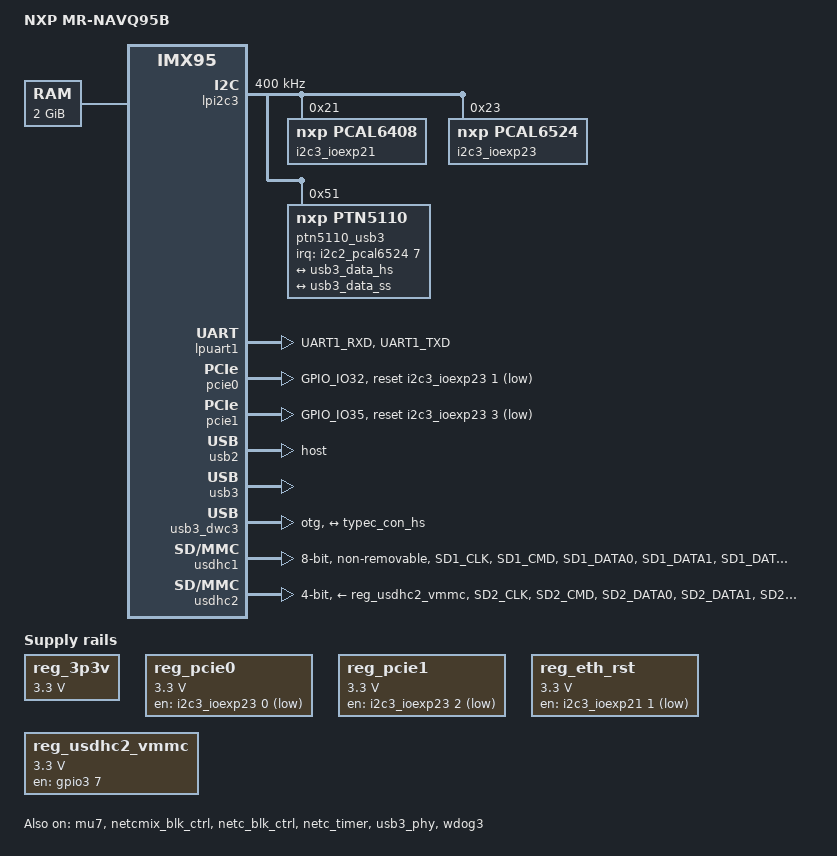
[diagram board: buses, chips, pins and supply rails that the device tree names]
// SPDX-License-Identifier: (GPL-2.0+ OR MIT)
/*
 * Copyright 2024 NXP
 */

/dts-v1/;

#include <dt-bindings/pwm/pwm.h>
#include <dt-bindings/usb/pd.h>
#include "imx95.dtsi"

#define FALLING_EDGE			1
#define RISING_EDGE			2

#define BRD_SM_CTRL_SD3_WAKE		0x8000	/* PCAL6408A-0 */
#define BRD_SM_CTRL_PCIE1_WAKE		0x8001	/* PCAL6408A-4 */
#define BRD_SM_CTRL_BT_WAKE		0x8002	/* PCAL6408A-5 */
#define BRD_SM_CTRL_PCIE2_WAKE		0x8003	/* PCAL6408A-6 */
#define BRD_SM_CTRL_BUTTON		0x8004	/* PCAL6408A-7 */

/ {
	model = "NXP MR-NAVQ95B";
	compatible = "fsl,imx95-navqb", "fsl,imx95";

	aliases {
		gpio0 = &gpio1;
		gpio1 = &gpio2;
		gpio2 = &gpio3;
		gpio3 = &gpio4;
		gpio4 = &gpio5;
		i2c0 = &lpi2c1;
		i2c1 = &lpi2c2;
		i2c2 = &lpi2c3;
		i2c3 = &lpi2c4;
		i2c4 = &lpi2c5;
		i2c5 = &lpi2c6;
		i2c6 = &lpi2c7;
		i2c7 = &lpi2c8;
		mmc0 = &usdhc1;
		mmc1 = &usdhc2;
		serial0 = &lpuart1;
	};

	chosen {
		stdout-path = &lpuart1;
	};

	memory@80000000 {
		device_type = "memory";
		reg = <0x0 0x80000000 0 0x80000000>;
	};

	reserved-memory {
		#address-cells = <2>;
		#size-cells = <2>;
		ranges;

		linux_cma: linux,cma {
			compatible = "shared-dma-pool";
			alloc-ranges = <0 0x80000000 0 0x7f000000>;
			size = <0 0x3c000000>;
			linux,cma-default;
			reusable;
		};
	};

	reg_3p3v: regulator-3p3v {
		compatible = "regulator-fixed";
		regulator-max-microvolt = <3300000>;
		regulator-min-microvolt = <3300000>;
		regulator-name = "+V3.3_SW";
	};

	reg_pcie0: reg-pcie0 {
		compatible = "regulator-fixed";
		regulator-name = "M2_KEYM_PWREN_B";
		regulator-min-microvolt = <3300000>;
		regulator-max-microvolt = <3300000>;
		gpio = <&i2c3_ioexp23 0 (GPIO_ACTIVE_LOW | GPIO_OPEN_DRAIN)>;
		enable-active-low;
		regulator-always-on;
	};

	reg_pcie1: reg-pcie1 {
		compatible = "regulator-fixed";
		regulator-name = "M2_KEYB_PWREN_B";
		regulator-min-microvolt = <3300000>;
		regulator-max-microvolt = <3300000>;
		gpio = <&i2c3_ioexp23 2 (GPIO_ACTIVE_LOW | GPIO_OPEN_DRAIN)>;
		enable-active-low;
		regulator-always-on;
	};

	reg_eth_rst: reg-eth-rst {
		compatible = "regulator-fixed";
		regulator-name = "RTL8211_PHYRST_B";
		regulator-min-microvolt = <3300000>;
		regulator-max-microvolt = <3300000>;
		gpio = <&i2c3_ioexp21 1 (GPIO_ACTIVE_LOW | GPIO_OPEN_DRAIN)>;
		enable-active-low;
		regulator-always-on;
	};

	reg_usdhc2_vmmc: regulator-usdhc2 {
		compatible = "regulator-fixed";
		pinctrl-names = "default";
		pinctrl-0 = <&pinctrl_reg_usdhc2_vmmc>;
		regulator-name = "VDD_SD2_3V3";
		regulator-min-microvolt = <3300000>;
		regulator-max-microvolt = <3300000>;
		gpio = <&gpio3 7 GPIO_ACTIVE_HIGH>;
		enable-active-high;
		off-on-delay-us = <12000>;
	};
};

&flexspi1 {
	pinctrl-names = "default";
	pinctrl-0 = <&pinctrl_flexspi1>;
	status = "disabled";

	flash@0 {
		compatible = "jedec,spi-nor";
		reg = <0>;
		pinctrl-names = "default";
		pinctrl-0 = <&pinctrl_flexspi1_reset>;
		reset-gpios = <&gpio5 11 GPIO_ACTIVE_LOW>;
		#address-cells = <1>;
		#size-cells = <1>;
		spi-max-frequency = <200000000>;
		spi-tx-bus-width = <8>;
		spi-rx-bus-width = <8>;
	};
};

&gpio2 {
	status = "disabled";
};

&lpi2c3 {
	clock-frequency = <400000>;
	pinctrl-names = "default";
	pinctrl-0 = <&pinctrl_lpi2c3>;
	status = "okay";

	i2c3_ioexp21: i2c3-gpio@21 {
		compatible = "nxp,pcal6408";
	    label = "i2c3_ioexp21";
		reg = <0x21>;
		gpio-controller;
		#gpio-cells = <2>;
		status = "okay";
	};

	i2c3_ioexp23: i2c3-gpio@23 {
		compatible = "nxp,pcal6524";
	    label = "i2c3_ioexp23";
		reg = <0x23>;
		gpio-controller;
		#gpio-cells = <2>;
	};

	ptn5110_usb3: tcpc@51 {
		compatible = "nxp,ptn5110", "tcpci";
		reg = <0x51>;
		interrupt-parent = <&i2c2_pcal6524>;
		interrupts = <7 IRQ_TYPE_LEVEL_LOW>;

		typec_con3: connector {
			compatible = "usb-c-connector";
			label = "USB-C";
			power-role = "dual";
			data-role = "dual";
			try-power-role = "sink";
			source-pdos = <PDO_FIXED(5000, 3000, PDO_FIXED_USB_COMM)>;
			sink-pdos = <PDO_FIXED(5000, 3000, PDO_FIXED_USB_COMM)
				     PDO_VAR(5000, 20000, 3000)>;
			op-sink-microwatt = <0>;
			self-powered;

			ports {
				#address-cells = <1>;
				#size-cells = <0>;

				port@0 {
					reg = <0>;

					typec_con_hs: endpoint {
						remote-endpoint = <&usb3_data_hs>;
					};
				};

				port@1 {
					reg = <1>;

					typec_con_ss: endpoint {
						remote-endpoint = <&usb3_data_ss>;
					};
				};
			};
		};
	};
};

&lpi2c4 {
	clock-frequency = <400000>;
	pinctrl-names = "default";
	pinctrl-0 = <&pinctrl_lpi2c4>;
	status = "disabled";
};

&lpuart1 {
	/* console */
	pinctrl-names = "default";
	pinctrl-0 = <&pinctrl_uart1>;
	status = "okay";
};


&mu7 {
	status = "okay";
};

&netcmix_blk_ctrl {
	status = "okay";
};

&netc_blk_ctrl {
	status = "okay";
};

&netc_timer {
	status = "okay";
};

&pcie0 {
	pinctrl-0 = <&pinctrl_pcie0>;
	pinctrl-names = "default";
	reset-gpio = <&i2c3_ioexp23 1 GPIO_ACTIVE_LOW>;
	vpcie-supply = <&reg_pcie0>;
	status = "okay";
};

&pcie0_ep {
	pinctrl-0 = <&pinctrl_pcie0>;
	pinctrl-names = "default";
	vpcie-supply = <&reg_pcie0>;
	status = "disabled";
};

&pcie1 {
	pinctrl-0 = <&pinctrl_pcie1>;
	pinctrl-names = "default";
	reset-gpio = <&i2c3_ioexp23 3 GPIO_ACTIVE_LOW>;
	vpcie-supply = <&reg_pcie1>;
	status = "okay";
};

&pcie1_ep {
	pinctrl-0 = <&pinctrl_pcie1>;
	pinctrl-names = "default";
	vpcie-supply = <&reg_pcie1>;
	status = "disabled";
};

&usb2 {
	dr_mode = "host";
	disable-over-current;
	status = "okay";
};

&usb3 {
	status = "okay";
};

&usb3_dwc3 {
	dr_mode = "otg";
	hnp-disable;
	srp-disable;
	adp-disable;
	usb-role-switch;
	role-switch-default-mode = "peripheral";
	snps,dis-u1-entry-quirk;
	snps,dis-u2-entry-quirk;
	status = "okay";

	port {
		usb3_data_hs: endpoint {
			remote-endpoint = <&typec_con_hs>;
		};
	};
};

&usb3_phy {
	fsl,phy-pcs-tx-deemph-3p5db-attenuation-db = <17>;
	fsl,phy-pcs-tx-swing-full-percent = <100>;
	fsl,phy-tx-preemp-amp-tune-microamp = <600>;
	fsl,phy-tx-vboost-level-microvolt = <1156>;
	fsl,phy-tx-vref-tune-percent = <100>;
	orientation-switch;
	status = "okay";

	port {
		usb3_data_ss: endpoint {
			remote-endpoint = <&typec_con_ss>;
		};
	};
};

&usdhc1 {
	pinctrl-names = "default", "state_100mhz", "state_200mhz", "sleep";
	pinctrl-0 = <&pinctrl_usdhc1>;
	pinctrl-1 = <&pinctrl_usdhc1_100mhz>;
	pinctrl-2 = <&pinctrl_usdhc1_200mhz>;
	pinctrl-3 = <&pinctrl_usdhc1>;
	bus-width = <8>;
	non-removable;
	no-sdio;
	no-sd;
	status = "okay";
};

&usdhc2 {
	pinctrl-names = "default", "state_100mhz", "state_200mhz", "sleep";
	pinctrl-0 = <&pinctrl_usdhc2>, <&pinctrl_usdhc2_gpio>;
	pinctrl-1 = <&pinctrl_usdhc2_100mhz>, <&pinctrl_usdhc2_gpio>;
	pinctrl-2 = <&pinctrl_usdhc2_200mhz>, <&pinctrl_usdhc2_gpio>;
	pinctrl-3 = <&pinctrl_usdhc2>, <&pinctrl_usdhc2_gpio>;
	cd-gpios = <&gpio3 0 GPIO_ACTIVE_LOW>;
	vmmc-supply = <&reg_usdhc2_vmmc>;
	bus-width = <4>;
	status = "okay";
};

&scmi_misc {
	nxp,ctrl-ids = <BRD_SM_CTRL_SD3_WAKE	FALLING_EDGE
			BRD_SM_CTRL_PCIE1_WAKE	FALLING_EDGE
			BRD_SM_CTRL_BT_WAKE	FALLING_EDGE
			BRD_SM_CTRL_PCIE2_WAKE	FALLING_EDGE
			BRD_SM_CTRL_BUTTON	FALLING_EDGE>;
};

&wdog3 {
	fsl,ext-reset-output;
	status = "okay";
};

&scmi_iomuxc {
	pinctrl_flexspi1: flexspi1grp {
		fsl,pins = <
			IMX95_PAD_XSPI1_SS0_B__FLEXSPI1_A_SS0_B			0x3fe
			IMX95_PAD_XSPI1_SCLK__FLEXSPI1_A_SCLK			0x3fe
			IMX95_PAD_XSPI1_DQS__FLEXSPI1_A_DQS			0x3fe
			IMX95_PAD_XSPI1_DATA0__FLEXSPI1_A_DATA_BIT0		0x3fe
			IMX95_PAD_XSPI1_DATA1__FLEXSPI1_A_DATA_BIT1		0x3fe
			IMX95_PAD_XSPI1_DATA2__FLEXSPI1_A_DATA_BIT2		0x3fe
			IMX95_PAD_XSPI1_DATA3__FLEXSPI1_A_DATA_BIT3		0x3fe
			IMX95_PAD_XSPI1_DATA4__FLEXSPI1_A_DATA_BIT4		0x3fe
			IMX95_PAD_XSPI1_DATA5__FLEXSPI1_A_DATA_BIT5		0x3fe
			IMX95_PAD_XSPI1_DATA6__FLEXSPI1_A_DATA_BIT6		0x3fe
			IMX95_PAD_XSPI1_DATA7__FLEXSPI1_A_DATA_BIT7		0x3fe
		>;
	};

	pinctrl_flexspi1_reset: flexspi1-reset-grp {
		fsl,pins = <
			IMX95_PAD_XSPI1_SS1_B__GPIO5_IO_BIT11			0x3fe
		>;
	};

	pinctrl_hp: hpgrp {
		fsl,pins = <
			IMX95_PAD_GPIO_IO11__GPIO2_IO_BIT11		0x31e
		>;
	};

	pinctrl_i2c4_pcal6408: i2c4pcal6498grp {
		fsl,pins = <
			IMX95_PAD_GPIO_IO18__GPIO2_IO_BIT18			0x31e
		>;
	};

	pinctrl_lpi2c4: lpi2c4grp {
		fsl,pins = <
			IMX95_PAD_GPIO_IO30__LPI2C4_SDA			0x40000b9e
			IMX95_PAD_GPIO_IO31__LPI2C4_SCL			0x40000b9e
		>;
	};

	pinctrl_lpi2c5: lpi2c5grp {
		fsl,pins = <
			IMX95_PAD_GPIO_IO22__LPI2C5_SDA			0x40000b9e
			IMX95_PAD_GPIO_IO23__LPI2C5_SCL			0x40000b9e
		>;
	};

	pinctrl_lpi2c6: lpi2c6grp {
		fsl,pins = <
			IMX95_PAD_GPIO_IO02__LPI2C6_SDA			0x40000b9e
			IMX95_PAD_GPIO_IO03__LPI2C6_SCL			0x40000b9e
		>;
	};

	pinctrl_lpi2c7: lpi2c7grp {
		fsl,pins = <
			IMX95_PAD_GPIO_IO08__LPI2C7_SDA			0x40000b9e
			IMX95_PAD_GPIO_IO09__LPI2C7_SCL			0x40000b9e
		>;
	};

	pinctrl_pcie0: pcie0grp {
		fsl,pins = <
			IMX95_PAD_GPIO_IO32__HSIOMIX_TOP_PCIE1_CLKREQ_B		0x4000031e
		>;
	};

	pinctrl_pcie1: pcie1grp {
		fsl,pins = <
			IMX95_PAD_GPIO_IO35__HSIOMIX_TOP_PCIE2_CLKREQ_B		0x4000031e
		>;
	};

	pinctrl_pcal6416: pcal6416grp {
		fsl,pins = <
			IMX95_PAD_CCM_CLKO3__GPIO4_IO_BIT28			0x31e
		>;
	};

	pinctrl_uart1: uart1grp {
		fsl,pins = <
			IMX95_PAD_UART1_RXD__AONMIX_TOP_LPUART1_RX      0x31e
			IMX95_PAD_UART1_TXD__AONMIX_TOP_LPUART1_TX      0x31e
		>;
	};

	pinctrl_usdhc1: usdhc1grp {
		fsl,pins = <
			IMX95_PAD_SD1_CLK__USDHC1_CLK			0x158e
			IMX95_PAD_SD1_CMD__USDHC1_CMD			0x138e
			IMX95_PAD_SD1_DATA0__USDHC1_DATA0		0x138e
			IMX95_PAD_SD1_DATA1__USDHC1_DATA1		0x138e
			IMX95_PAD_SD1_DATA2__USDHC1_DATA2		0x138e
			IMX95_PAD_SD1_DATA3__USDHC1_DATA3		0x138e
			IMX95_PAD_SD1_DATA4__USDHC1_DATA4		0x138e
			IMX95_PAD_SD1_DATA5__USDHC1_DATA5		0x138e
			IMX95_PAD_SD1_DATA6__USDHC1_DATA6		0x138e
			IMX95_PAD_SD1_DATA7__USDHC1_DATA7		0x138e
			IMX95_PAD_SD1_STROBE__USDHC1_STROBE		0x158e
		>;
	};

	pinctrl_usdhc1_100mhz: usdhc1-100mhzgrp {
		fsl,pins = <
			IMX95_PAD_SD1_CLK__USDHC1_CLK			0x158e
			IMX95_PAD_SD1_CMD__USDHC1_CMD			0x138e
			IMX95_PAD_SD1_DATA0__USDHC1_DATA0		0x138e
			IMX95_PAD_SD1_DATA1__USDHC1_DATA1		0x138e
			IMX95_PAD_SD1_DATA2__USDHC1_DATA2		0x138e
			IMX95_PAD_SD1_DATA3__USDHC1_DATA3		0x138e
			IMX95_PAD_SD1_DATA4__USDHC1_DATA4		0x138e
			IMX95_PAD_SD1_DATA5__USDHC1_DATA5		0x138e
			IMX95_PAD_SD1_DATA6__USDHC1_DATA6		0x138e
			IMX95_PAD_SD1_DATA7__USDHC1_DATA7		0x138e
			IMX95_PAD_SD1_STROBE__USDHC1_STROBE		0x158e
		>;
	};

	pinctrl_usdhc1_200mhz: usdhc1-200mhzgrp {
		fsl,pins = <
			IMX95_PAD_SD1_CLK__USDHC1_CLK			0x15fe
			IMX95_PAD_SD1_CMD__USDHC1_CMD			0x13fe
			IMX95_PAD_SD1_DATA0__USDHC1_DATA0		0x13fe
			IMX95_PAD_SD1_DATA1__USDHC1_DATA1		0x13fe
			IMX95_PAD_SD1_DATA2__USDHC1_DATA2		0x13fe
			IMX95_PAD_SD1_DATA3__USDHC1_DATA3		0x13fe
			IMX95_PAD_SD1_DATA4__USDHC1_DATA4		0x13fe
			IMX95_PAD_SD1_DATA5__USDHC1_DATA5		0x13fe
			IMX95_PAD_SD1_DATA6__USDHC1_DATA6		0x13fe
			IMX95_PAD_SD1_DATA7__USDHC1_DATA7		0x13fe
			IMX95_PAD_SD1_STROBE__USDHC1_STROBE		0x15fe
		>;
	};

	pinctrl_reg_usdhc2_vmmc: regusdhc2vmmcgrp {
		fsl,pins = <
			IMX95_PAD_SD2_RESET_B__GPIO3_IO_BIT7		0x31e
		>;
	};

	pinctrl_usdhc2_gpio: usdhc2gpiogrp {
		fsl,pins = <
			IMX95_PAD_SD2_CD_B__GPIO3_IO_BIT0		0x31e
		>;
	};

	pinctrl_usdhc2: usdhc2grp {
		fsl,pins = <
			IMX95_PAD_SD2_CLK__USDHC2_CLK			0x158e
			IMX95_PAD_SD2_CMD__USDHC2_CMD			0x138e
			IMX95_PAD_SD2_DATA0__USDHC2_DATA0		0x138e
			IMX95_PAD_SD2_DATA1__USDHC2_DATA1		0x138e
			IMX95_PAD_SD2_DATA2__USDHC2_DATA2		0x138e
			IMX95_PAD_SD2_DATA3__USDHC2_DATA3		0x138e
			IMX95_PAD_SD2_VSELECT__USDHC2_VSELECT		0x51e
		>;
	};

	pinctrl_usdhc2_100mhz: usdhc2-100mhzgrp {
		fsl,pins = <
			IMX95_PAD_SD2_CLK__USDHC2_CLK			0x158e
			IMX95_PAD_SD2_CMD__USDHC2_CMD			0x138e
			IMX95_PAD_SD2_DATA0__USDHC2_DATA0		0x138e
			IMX95_PAD_SD2_DATA1__USDHC2_DATA1		0x138e
			IMX95_PAD_SD2_DATA2__USDHC2_DATA2		0x138e
			IMX95_PAD_SD2_DATA3__USDHC2_DATA3		0x138e
			IMX95_PAD_SD2_VSELECT__USDHC2_VSELECT		0x51e
		>;
	};

	pinctrl_usdhc2_200mhz: usdhc2-200mhzgrp {
		fsl,pins = <
			IMX95_PAD_SD2_CLK__USDHC2_CLK			0x15fe
			IMX95_PAD_SD2_CMD__USDHC2_CMD			0x13fe
			IMX95_PAD_SD2_DATA0__USDHC2_DATA0		0x13fe
			IMX95_PAD_SD2_DATA1__USDHC2_DATA1		0x13fe
			IMX95_PAD_SD2_DATA2__USDHC2_DATA2		0x13fe
			IMX95_PAD_SD2_DATA3__USDHC2_DATA3		0x13fe
			IMX95_PAD_SD2_VSELECT__USDHC2_VSELECT		0x51e
		>;
	};
};

&thermal_zones {
	a55-thermal {
		trips {
			atrip2: trip2 {
				temperature = <55000>;
				hysteresis = <2000>;
				type = "active";
			};

			atrip3: trip3 {
				temperature = <65000>;
				hysteresis = <2000>;
				type = "active";
			};

			atrip4: trip4 {
				temperature = <75000>;
				hysteresis = <2000>;
				type = "active";
			};
		};
	};

	pf09-thermal {
		polling-delay = <2000>;
		polling-delay-passive = <250>;
		thermal-sensors = <&scmi_sensor 2>;

		trips {
			pf09_alert: trip0 {
				hysteresis = <2000>;
				temperature = <140000>;
				type = "passive";
			};

			pf09_crit: trip1 {
				hysteresis = <2000>;
				temperature = <155000>;
				type = "critical";
			};
		};
	};

	pf53arm-thermal {
		polling-delay = <2000>;
		polling-delay-passive = <250>;
		thermal-sensors = <&scmi_sensor 4>;

		cooling-maps {
			map0 {
				trip = <&pf5301_alert>;
				cooling-device =
					<&A55_0 THERMAL_NO_LIMIT THERMAL_NO_LIMIT>,
					<&A55_1 THERMAL_NO_LIMIT THERMAL_NO_LIMIT>,
					<&A55_2 THERMAL_NO_LIMIT THERMAL_NO_LIMIT>,
					<&A55_3 THERMAL_NO_LIMIT THERMAL_NO_LIMIT>,
					<&A55_4 THERMAL_NO_LIMIT THERMAL_NO_LIMIT>,
					<&A55_5 THERMAL_NO_LIMIT THERMAL_NO_LIMIT>;
			};
		};

		trips {
			pf5301_alert: trip0 {
				hysteresis = <2000>;
				temperature = <140000>;
				type = "passive";
			};

			pf5301_crit: trip1 {
				hysteresis = <2000>;
				temperature = <155000>;
				type = "critical";
			};
		};
	};

	pf53soc-thermal {
		polling-delay = <2000>;
		polling-delay-passive = <250>;
		thermal-sensors = <&scmi_sensor 3>;

		trips {
			pf5302_alert: trip0 {
				hysteresis = <2000>;
				temperature = <140000>;
				type = "passive";
			};

			pf5302_crit: trip1 {
				hysteresis = <2000>;
				temperature = <155000>;
				type = "critical";
			};
		};
	};
};

#include "imx95-navq-u-boot.dtsi"

&lpi2c2 {
	status = "disabled";
};
